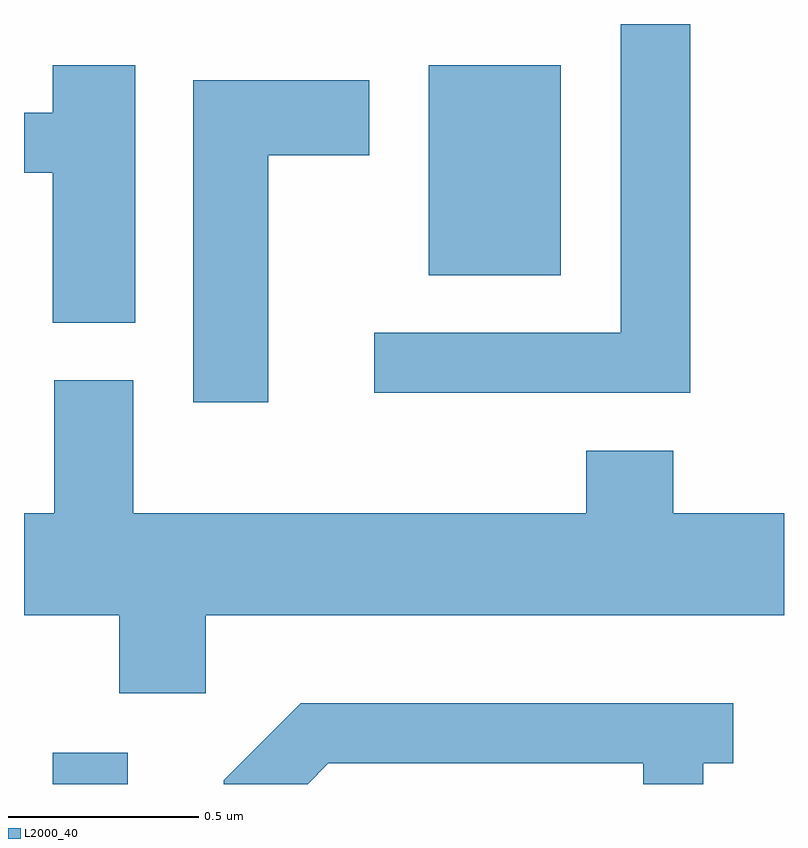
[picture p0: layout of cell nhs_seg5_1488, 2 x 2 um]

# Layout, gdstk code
import gdstk
lib = gdstk.Library(unit=1e-6, precision=1e-09)
def R(c, l, rs):  # rectangles x0, y0, x1, y1
    for r in rs: c.add(gdstk.rectangle(r[:2], r[2:], *l))
def P(c, l, *ps):  # polygons
    for p in ps: c.add(gdstk.Polygon(p, *l))
L2000_40 = (2000, 40)

nhs_seg5_1488 = lib.new_cell('nhs_seg5_1488')
R(nhs_seg5_1488, L2000_40, [(195.686,1514.072,195.884,1514.154), (196.676,1515.411,197.024,1515.964)])
P(nhs_seg5_1488, L2000_40, [(197.364,1516.072),(197.181,1516.072),(197.181,1515.259),(196.533,1515.259),(196.533,1515.101),(197.364,1515.101)],
  [(195.904,1515.964),(195.686,1515.964),(195.686,1515.839),(195.611,1515.839),(195.611,1515.681),(195.686,1515.681),(195.686,1515.286),(195.904,1515.286)],
  [(196.254,1515.726),(196.519,1515.726),(196.519,1515.924),(196.056,1515.924),(196.056,1515.076),(196.254,1515.076)],
  [(196.089,1514.516),(197.611,1514.516),(197.611,1514.784),(197.319,1514.784),(197.319,1514.949),(197.091,1514.949),(197.091,1514.784),(195.899,1514.784),(195.899,1515.134),(195.691,1515.134),(195.691,1514.784),(195.611,1514.784),(195.611,1514.516),(195.861,1514.516),(195.861,1514.311),(196.089,1514.311)],
  [(196.412,1514.126),(197.241,1514.126),(197.241,1514.072),(197.399,1514.072),(197.399,1514.126),(197.478,1514.126),(197.478,1514.284),(196.339,1514.284),(196.136,1514.082),(196.136,1514.072),(196.358,1514.072)])

lib.write_gds('nhs_seg5_1488.gds')
